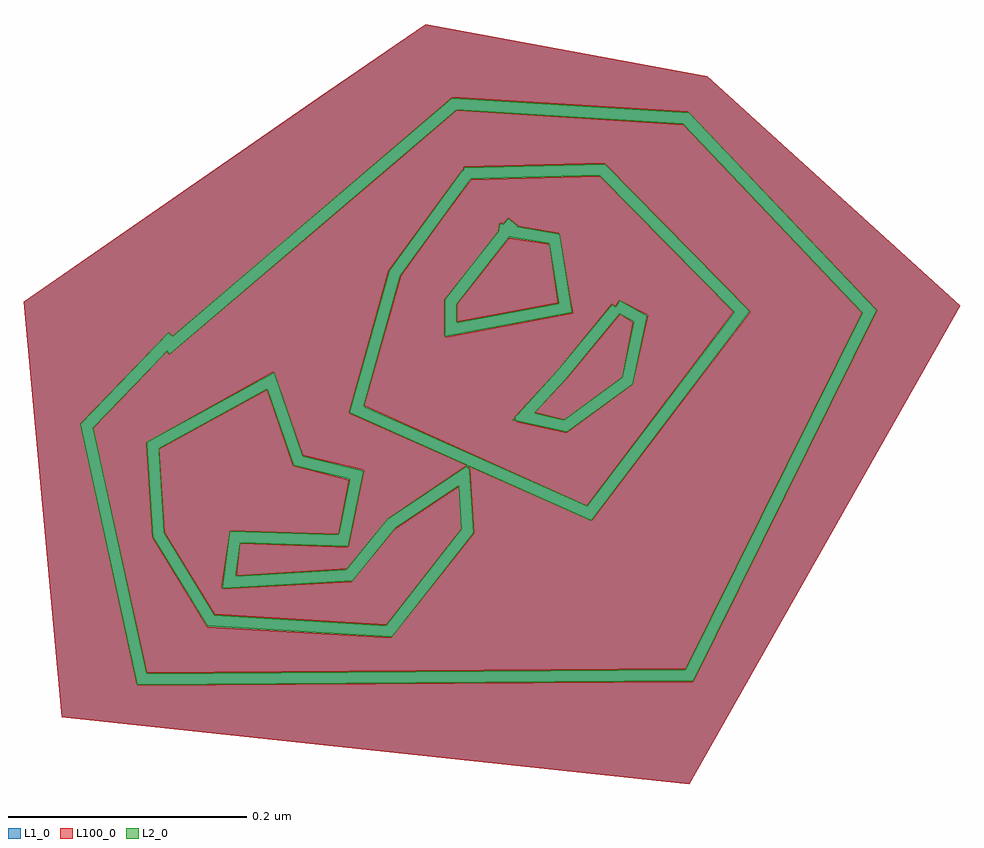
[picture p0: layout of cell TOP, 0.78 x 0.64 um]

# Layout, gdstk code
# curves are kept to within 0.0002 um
import gdstk
lib = gdstk.Library(unit=1e-6, precision=1e-09)
def P(c, l, *ps):  # polygons
    for p in ps: c.add(gdstk.Polygon(p, *l))
L1_0 = (1, 0)
L2_0 = (2, 0)
L100_0 = (100, 0)

top = lib.new_cell('TOP')
P(top, L1_0, [(0.444,0.934),(-0.082,0.99),(-0.114,1.338),(0.223,1.571),(0.459,1.527),(0.671,1.335)])
P(top, L100_0, [(0.19,1.067),(0.046,1.076),(0.004,1.145),(-0.001,1.215),(0.09,1.265),(0.112,1.201),(0.159,1.189),(0.15,1.143),(0.059,1.146),(0.052,1.099),(0.053,1.098),(0.161,1.104),(0.197,1.148),(0.251,1.184),(0.253,1.148)],
  [(-0.011,1.027),(-0.056,1.232),(-0.011,1.279),(0.095,1.279),(-0.011,1.22),(-0.006,1.141),(0.04,1.066),(0.194,1.057),(0.263,1.144),(0.26,1.198),(0.256,1.2),(0.191,1.156),(0.157,1.114),(0.064,1.108),(0.067,1.136),(0.158,1.133),(0.171,1.197),(0.12,1.209),(0.096,1.278),(0.095,1.279),(-0.011,1.279),(0.006,1.297),(0.008,1.294),(0.196,1.454),(0.373,1.454),(0.255,1.451),(0.255,1.448),(0.254,1.449),(0.192,1.364),(0.159,1.245),(0.362,1.155),(0.495,1.33),(0.373,1.454),(0.196,1.454),(0.249,1.499),(0.439,1.487),(0.589,1.329),(0.441,1.03)],
  [(0.358,1.167),(0.171,1.251),(0.202,1.36),(0.237,1.408),(0.292,1.408),(0.288,1.403),(0.285,1.404),(0.284,1.397),(0.239,1.34),(0.239,1.31),(0.24,1.309),(0.346,1.329),(0.344,1.339),(0.385,1.339),(0.382,1.334),(0.379,1.336),(0.333,1.28),(0.298,1.242),(0.299,1.238),(0.341,1.229),(0.396,1.269),(0.409,1.327),(0.385,1.339),(0.344,1.339),(0.335,1.395),(0.3,1.401),(0.3,1.402),(0.292,1.408),(0.237,1.408),(0.261,1.441),(0.369,1.444),(0.481,1.33)],
  [(0.249,1.321),(0.249,1.336),(0.293,1.392),(0.327,1.387),(0.334,1.337)],
  [(0.444,0.934),(-0.082,0.99),(-0.114,1.338),(0.133,1.509),(0.245,1.509),(0.011,1.309),(0.007,1.312),(-0.066,1.236),(-0.019,1.017),(0.447,1.02),(0.601,1.331),(0.443,1.497),(0.245,1.509),(0.133,1.509),(0.223,1.571),(0.459,1.527),(0.671,1.335)],
  [(0.339,1.239),(0.314,1.245),(0.341,1.274),(0.386,1.328),(0.397,1.321),(0.388,1.275)])
top.add(gdstk.FlexPath([(0.255,1.446),(0.371,1.449),(0.488,1.33),(0.36,1.161),(0.165,1.248),(0.197,1.362),(0.258,1.446)], 0.01, ends="flush", simple_path=True, layer=2, datatype=0))  # L2_0
top.add(gdstk.FlexPath([(-0.009,1.216),(0.093,1.272),(0.116,1.205),(0.165,1.193),(0.154,1.138),(0.063,1.141),(0.058,1.103),(0.159,1.109),(0.194,1.152),(0.255,1.193),(0.258,1.146),(0.192,1.062),(0.043,1.071),(-0.001,1.143),(-0.006,1.219)], 0.01, ends="flush", simple_path=True, layer=2, datatype=0))  # L2_0
top.add(gdstk.FlexPath([(0.383,1.335),(0.403,1.324),(0.392,1.272),(0.34,1.234),(0.305,1.242),(0.337,1.277),(0.383,1.333)], 0.01, ends="flush", simple_path=True, layer=2, datatype=0))  # L2_0
top.add(gdstk.FlexPath([(0.284,1.399),(0.331,1.391),(0.34,1.333),(0.244,1.315),(0.244,1.338),(0.296,1.405)], 0.01, ends="flush", simple_path=True, layer=2, datatype=0))  # L2_0
top.add(gdstk.FlexPath([(0.005,1.298),(0.247,1.504),(0.441,1.492),(0.595,1.33),(0.444,1.025),(-0.015,1.022),(-0.061,1.234),(0.011,1.309)], 0.01, ends="flush", simple_path=True, layer=2, datatype=0))  # L2_0

lib.write_gds('TOP.gds')
